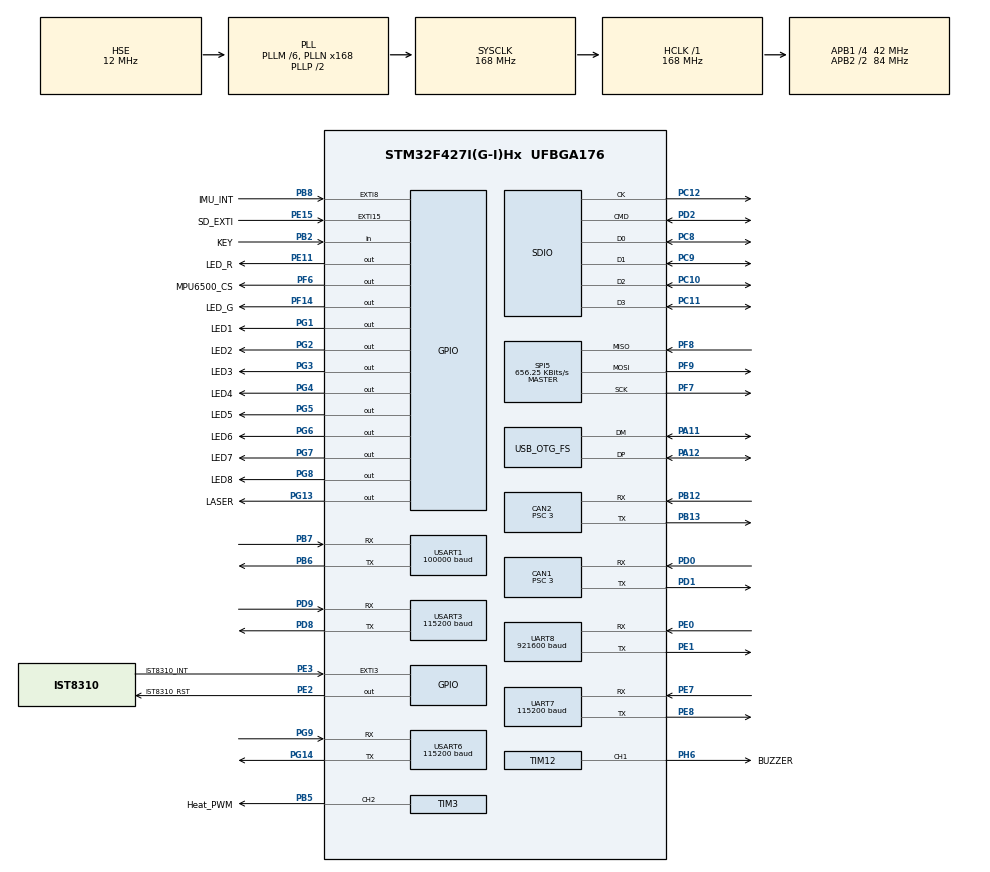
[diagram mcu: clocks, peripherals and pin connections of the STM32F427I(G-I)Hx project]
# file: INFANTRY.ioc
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CAN1.BS1=CAN_BS1_10TQ
CAN1.BS2=CAN_BS2_3TQ
CAN1.CalculateBaudRate=1000000
CAN1.CalculateTimeQuantum=71.42857142857143
CAN1.Prescaler=3
CAN2.BS1=CAN_BS1_10TQ
CAN2.BS2=CAN_BS2_3TQ
CAN2.CalculateBaudRate=1000000
CAN2.CalculateTimeQuantum=71.42857142857143
CAN2.Prescaler=3
Dma.Request0=USART1_RX
Dma.Request1=UART8_RX
Dma.Request2=UART8_TX
Dma.Request3=SDIO_RX
Dma.Request4=SDIO_TX
Dma.Request5=SPI5_RX
Dma.Request6=SPI5_TX
Dma.SDIO_RX.3.Direction=DMA_PERIPH_TO_MEMORY
Dma.SDIO_RX.3.FIFOMode=DMA_FIFOMODE_DISABLE
Dma.SDIO_RX.3.Instance=DMA2_Stream3
Dma.SDIO_RX.3.MemDataAlignment=DMA_MDATAALIGN_WORD
Dma.SDIO_RX.3.MemInc=DMA_MINC_ENABLE
Dma.SDIO_RX.3.Mode=DMA_PFCTRL
Dma.SDIO_RX.3.PeriphDataAlignment=DMA_PDATAALIGN_WORD
Dma.SDIO_RX.3.PeriphInc=DMA_PINC_DISABLE
Dma.SDIO_RX.3.Priority=DMA_PRIORITY_VERY_HIGH
Dma.SDIO_TX.4.Direction=DMA_MEMORY_TO_PERIPH
Dma.SDIO_TX.4.FIFOMode=DMA_FIFOMODE_DISABLE
Dma.SDIO_TX.4.Instance=DMA2_Stream6
Dma.SDIO_TX.4.MemDataAlignment=DMA_MDATAALIGN_WORD
Dma.SDIO_TX.4.MemInc=DMA_MINC_ENABLE
Dma.SDIO_TX.4.Mode=DMA_PFCTRL
Dma.SDIO_TX.4.PeriphDataAlignment=DMA_PDATAALIGN_WORD
Dma.SDIO_TX.4.PeriphInc=DMA_PINC_DISABLE
Dma.SDIO_TX.4.Priority=DMA_PRIORITY_VERY_HIGH
Dma.SPI5_RX.5.Direction=DMA_PERIPH_TO_MEMORY
Dma.SPI5_RX.5.FIFOMode=DMA_FIFOMODE_DISABLE
Dma.SPI5_RX.5.Instance=DMA2_Stream5
Dma.SPI5_RX.5.MemDataAlignment=DMA_MDATAALIGN_BYTE
Dma.SPI5_RX.5.MemInc=DMA_MINC_ENABLE
Dma.SPI5_RX.5.Mode=DMA_NORMAL
Dma.SPI5_RX.5.PeriphDataAlignment=DMA_PDATAALIGN_BYTE
Dma.SPI5_RX.5.PeriphInc=DMA_PINC_DISABLE
Dma.SPI5_RX.5.Priority=DMA_PRIORITY_HIGH
Dma.SPI5_TX.6.Direction=DMA_MEMORY_TO_PERIPH
Dma.SPI5_TX.6.FIFOMode=DMA_FIFOMODE_DISABLE
Dma.SPI5_TX.6.Instance=DMA2_Stream4
Dma.SPI5_TX.6.MemDataAlignment=DMA_MDATAALIGN_BYTE
Dma.SPI5_TX.6.MemInc=DMA_MINC_ENABLE
Dma.SPI5_TX.6.Mode=DMA_NORMAL
Dma.SPI5_TX.6.PeriphDataAlignment=DMA_PDATAALIGN_BYTE
Dma.SPI5_TX.6.PeriphInc=DMA_PINC_DISABLE
Dma.SPI5_TX.6.Priority=DMA_PRIORITY_HIGH
Dma.UART8_RX.1.Direction=DMA_PERIPH_TO_MEMORY
Dma.UART8_RX.1.FIFOMode=DMA_FIFOMODE_DISABLE
Dma.UART8_RX.1.Instance=DMA1_Stream6
Dma.UART8_RX.1.MemDataAlignment=DMA_MDATAALIGN_BYTE
Dma.UART8_RX.1.MemInc=DMA_MINC_ENABLE
Dma.UART8_RX.1.Mode=DMA_CIRCULAR
Dma.UART8_RX.1.PeriphDataAlignment=DMA_PDATAALIGN_BYTE
Dma.UART8_RX.1.PeriphInc=DMA_PINC_DISABLE
Dma.UART8_RX.1.Priority=DMA_PRIORITY_HIGH
Dma.UART8_TX.2.Direction=DMA_MEMORY_TO_PERIPH
Dma.UART8_TX.2.FIFOMode=DMA_FIFOMODE_DISABLE
Dma.UART8_TX.2.Instance=DMA1_Stream0
Dma.UART8_TX.2.MemDataAlignment=DMA_MDATAALIGN_BYTE
Dma.UART8_TX.2.MemInc=DMA_MINC_ENABLE
Dma.UART8_TX.2.Mode=DMA_NORMAL
Dma.UART8_TX.2.PeriphDataAlignment=DMA_PDATAALIGN_BYTE
Dma.UART8_TX.2.PeriphInc=DMA_PINC_DISABLE
Dma.UART8_TX.2.Priority=DMA_PRIORITY_HIGH
Dma.USART1_RX.0.Direction=DMA_PERIPH_TO_MEMORY
Dma.USART1_RX.0.FIFOMode=DMA_FIFOMODE_DISABLE
Dma.USART1_RX.0.Instance=DMA2_Stream2
Dma.USART1_RX.0.MemDataAlignment=DMA_MDATAALIGN_BYTE
Dma.USART1_RX.0.MemInc=DMA_MINC_ENABLE
Dma.USART1_RX.0.Mode=DMA_NORMAL
Dma.USART1_RX.0.PeriphDataAlignment=DMA_PDATAALIGN_BYTE
Dma.USART1_RX.0.PeriphInc=DMA_PINC_DISABLE
Dma.USART1_RX.0.Priority=DMA_PRIORITY_VERY_HIGH
FREERTOS.INCLUDE_eTaskGetState=1
FREERTOS.INCLUDE_pcTaskGetTaskName=1
FREERTOS.INCLUDE_uxTaskGetStackHighWaterMark=1
FREERTOS.INCLUDE_vTaskCleanUpResources=1
FREERTOS.INCLUDE_vTaskDelayUntil=1
FREERTOS.INCLUDE_xEventGroupSetBitFromISR=1
FREERTOS.INCLUDE_xQueueGetMutexHolder=1
FREERTOS.INCLUDE_xSemaphoreGetMutexHolder=1
FREERTOS.INCLUDE_xTaskAbortDelay=1
FREERTOS.INCLUDE_xTaskGetCurrentTaskHandle=1
FREERTOS.INCLUDE_xTaskGetHandle=1
FREERTOS.INCLUDE_xTimerPendFunctionCall=1
FREERTOS.Tasks01=defaultTask,0,256,StartDefaultTask,Default,NULL,Dynamic,NULL,NULL
FREERTOS.configTOTAL_HEAP_SIZE=40960
Mcu.Family=STM32F4
Mcu.Name=STM32F427I(G-I)Hx
Mcu.Package=UFBGA176
NVIC.CAN1_RX0_IRQn=true\:6\:0\:true\:false\:true\:true\:true\:true\:true
NVIC.CAN2_RX0_IRQn=true\:6\:0\:true\:false\:true\:true\:true\:true\:true
NVIC.DMA1_Stream0_IRQn=true\:5\:0\:true\:false\:false\:true\:false\:false\:true
NVIC.DMA1_Stream6_IRQn=true\:5\:0\:true\:false\:false\:true\:false\:true\:true
NVIC.DMA2_Stream2_IRQn=true\:5\:0\:false\:false\:true\:true\:false\:true\:true
NVIC.DMA2_Stream3_IRQn=true\:5\:0\:true\:false\:false\:true\:false\:true\:true
NVIC.DMA2_Stream4_IRQn=true\:5\:0\:false\:false\:true\:true\:false\:true\:true
NVIC.DMA2_Stream5_IRQn=true\:5\:0\:false\:false\:true\:true\:false\:true\:true
NVIC.DMA2_Stream6_IRQn=true\:5\:0\:true\:false\:true\:true\:false\:true\:true
NVIC.EXTI15_10_IRQn=true\:5\:0\:true\:false\:true\:true\:true\:true\:true
NVIC.EXTI3_IRQn=true\:5\:0\:true\:false\:true\:true\:true\:true\:true
NVIC.EXTI9_5_IRQn=true\:5\:0\:true\:false\:true\:true\:true\:true\:true
NVIC.OTG_FS_IRQn=true\:5\:0\:false\:false\:true\:true\:false\:true\:true
NVIC.PriorityGroup=NVIC_PRIORITYGROUP_4
NVIC.SDIO_IRQn=true\:5\:0\:false\:false\:true\:true\:true\:true\:true
NVIC.TIM6_DAC_IRQn=true\:15\:0\:false\:false\:true\:false\:false\:true\:true
NVIC.TimeBase=TIM6_DAC_IRQn
NVIC.TimeBaseIP=TIM6
NVIC.UART7_IRQn=true\:5\:0\:true\:false\:true\:false\:true\:true\:true
NVIC.UART8_IRQn=true\:5\:0\:true\:false\:true\:false\:true\:true\:true
NVIC.USART1_IRQn=true\:5\:0\:false\:false\:true\:true\:true\:true\:true
PA11.Mode=Device_Only
PA11.Signal=USB_OTG_FS_DM
PA12.Mode=Device_Only
PA12.Signal=USB_OTG_FS_DP
PA13.Mode=Serial_Wire
PA13.Signal=SYS_JTMS-SWDIO
PA14.Mode=Serial_Wire
PA14.Signal=SYS_JTCK-SWCLK
PB12.Mode=CAN_Activate
PB12.Signal=CAN2_RX
PB13.Mode=CAN_Activate
PB13.Signal=CAN2_TX
PB2/BOOT1.GPIO_Label=KEY
PB2/BOOT1.GPIO_PuPd=GPIO_PULLDOWN
PB2/BOOT1.Signal=GPIO_Input
PB5.GPIO_Label=Heat_PWM
PB5.GPIO_PuPd=GPIO_NOPULL
PB5.GPIO_Speed=GPIO_SPEED_FREQ_LOW
PB5.Signal=S_TIM3_CH2
PB6.Mode=Asynchronous
PB6.Signal=USART1_TX
PB7.Mode=Asynchronous
PB7.Signal=USART1_RX
PB8.GPIO_Label=IMU_INT
PB8.GPIO_ModeDefaultEXTI=GPIO_MODE_IT_RISING
PB8.GPIO_PuPd=GPIO_PULLUP
PB8.Signal=GPXTI8
PC10.GPIO_PuPd=GPIO_PULLUP
PC10.GPIO_Speed=GPIO_SPEED_FREQ_VERY_HIGH
PC10.Mode=SD_4_bits_Wide_bus
PC10.Signal=SDIO_D2
PC11.GPIO_PuPd=GPIO_PULLUP
PC11.GPIO_Speed=GPIO_SPEED_FREQ_VERY_HIGH
PC11.Mode=SD_4_bits_Wide_bus
PC11.Signal=SDIO_D3
PC12.GPIO_PuPd=GPIO_PULLUP
PC12.GPIO_Speed=GPIO_SPEED_FREQ_VERY_HIGH
PC12.Mode=SD_4_bits_Wide_bus
PC12.Signal=SDIO_CK
PC8.GPIO_PuPd=GPIO_PULLUP
PC8.GPIO_Speed=GPIO_SPEED_FREQ_VERY_HIGH
PC8.Mode=SD_4_bits_Wide_bus
PC8.Signal=SDIO_D0
PC9.GPIO_PuPd=GPIO_PULLUP
PC9.GPIO_Speed=GPIO_SPEED_FREQ_VERY_HIGH
PC9.Mode=SD_4_bits_Wide_bus
PC9.Signal=SDIO_D1
PD0.Mode=CAN_Activate
PD0.Signal=CAN1_RX
PD1.Mode=CAN_Activate
PD1.Signal=CAN1_TX
PD2.GPIO_PuPd=GPIO_PULLUP
PD2.GPIO_Speed=GPIO_SPEED_FREQ_VERY_HIGH
PD2.Mode=SD_4_bits_Wide_bus
PD2.Signal=SDIO_CMD
PD8.GPIO_PuPd=GPIO_PULLUP
PD8.Mode=Asynchronous
PD8.Signal=USART3_TX
PD9.GPIO_PuPd=GPIO_PULLUP
PD9.Mode=Asynchronous
PD9.Signal=USART3_RX
PE0.GPIO_PuPd=GPIO_PULLUP
PE0.Mode=Asynchronous
PE0.Signal=UART8_RX
PE1.GPIO_PuPd=GPIO_PULLUP
PE1.Mode=Asynchronous
PE1.Signal=UART8_TX
PE11.GPIO_Label=LED_R
PE11.GPIO_PuPd=GPIO_NOPULL
PE11.GPIO_Speed=GPIO_SPEED_FREQ_LOW
PE11.PinState=GPIO_PIN_SET
PE11.Signal=GPIO_Output
PE15.GPIO_Label=SD_EXTI
PE15.GPIO_ModeDefaultEXTI=GPIO_MODE_IT_RISING_FALLING
PE15.GPIO_PuPd=GPIO_PULLUP
PE15.Signal=GPXTI15
PE2.GPIO_Label=IST8310_RST
PE2.GPIO_PuPd=GPIO_NOPULL
PE2.GPIO_Speed=GPIO_SPEED_FREQ_LOW
PE2.PinState=GPIO_PIN_SET
PE2.Signal=GPIO_Output
PE3.GPIO_Label=IST8310_INT
PE3.GPIO_ModeDefaultEXTI=GPIO_MODE_IT_FALLING
PE3.GPIO_PuPd=GPIO_PULLUP
PE3.Signal=GPXTI3
PE7.GPIO_PuPd=GPIO_PULLUP
PE7.Mode=Asynchronous
PE7.Signal=UART7_RX
PE8.GPIO_PuPd=GPIO_PULLUP
PE8.Mode=Asynchronous
PE8.Signal=UART7_TX
PF14.GPIO_Label=LED_G
PF14.GPIO_PuPd=GPIO_NOPULL
PF14.GPIO_Speed=GPIO_SPEED_FREQ_LOW
PF14.PinState=GPIO_PIN_SET
PF14.Signal=GPIO_Output
PF6.GPIO_Label=MPU6500_CS
PF6.GPIO_PuPd=GPIO_PULLUP
PF6.GPIO_Speed=GPIO_SPEED_FREQ_MEDIUM
PF6.PinState=GPIO_PIN_SET
PF6.Signal=GPIO_Output
PF7.GPIO_PuPd=GPIO_NOPULL
PF7.Mode=Full_Duplex_Master
PF7.Signal=SPI5_SCK
PF8.GPIO_PuPd=GPIO_NOPULL
PF8.Mode=Full_Duplex_Master
PF8.Signal=SPI5_MISO
PF9.GPIO_PuPd=GPIO_NOPULL
PF9.Mode=Full_Duplex_Master
PF9.Signal=SPI5_MOSI
PG1.GPIO_Label=LED1
PG1.GPIO_PuPd=GPIO_NOPULL
PG1.GPIO_Speed=GPIO_SPEED_FREQ_LOW
PG1.PinState=GPIO_PIN_SET
PG1.Signal=GPIO_Output
PG13.GPIO_Label=LASER
PG13.GPIO_PuPd=GPIO_NOPULL
PG13.GPIO_Speed=GPIO_SPEED_FREQ_LOW
PG13.PinState=GPIO_PIN_RESET
PG13.Signal=GPIO_Output
PG14.GPIO_PuPd=GPIO_PULLUP
PG14.Mode=Asynchronous
PG14.Signal=USART6_TX
PG2.GPIO_Label=LED2
PG2.GPIO_PuPd=GPIO_NOPULL
PG2.GPIO_Speed=GPIO_SPEED_FREQ_LOW
PG2.PinState=GPIO_PIN_SET
PG2.Signal=GPIO_Output
PG3.GPIO_Label=LED3
PG3.GPIO_PuPd=GPIO_NOPULL
PG3.GPIO_Speed=GPIO_SPEED_FREQ_LOW
PG3.PinState=GPIO_PIN_SET
PG3.Signal=GPIO_Output
PG4.GPIO_Label=LED4
PG4.GPIO_PuPd=GPIO_NOPULL
PG4.GPIO_Speed=GPIO_SPEED_FREQ_LOW
PG4.PinState=GPIO_PIN_SET
PG4.Signal=GPIO_Output
PG5.GPIO_Label=LED5
PG5.GPIO_PuPd=GPIO_NOPULL
PG5.GPIO_Speed=GPIO_SPEED_FREQ_LOW
PG5.PinState=GPIO_PIN_SET
PG5.Signal=GPIO_Output
PG6.GPIO_Label=LED6
PG6.GPIO_PuPd=GPIO_NOPULL
PG6.GPIO_Speed=GPIO_SPEED_FREQ_LOW
PG6.PinState=GPIO_PIN_SET
PG6.Signal=GPIO_Output
PG7.GPIO_Label=LED7
PG7.GPIO_PuPd=GPIO_NOPULL
PG7.GPIO_Speed=GPIO_SPEED_FREQ_LOW
PG7.PinState=GPIO_PIN_SET
PG7.Signal=GPIO_Output
PG8.GPIO_Label=LED8
PG8.GPIO_PuPd=GPIO_NOPULL
PG8.GPIO_Speed=GPIO_SPEED_FREQ_LOW
PG8.PinState=GPIO_PIN_SET
PG8.Signal=GPIO_Output
PG9.GPIO_PuPd=GPIO_PULLUP
PG9.Mode=Asynchronous
PG9.Signal=USART6_RX
PH0/OSC_IN.Mode=HSE-External-Oscillator
PH0/OSC_IN.Signal=RCC_OSC_IN
PH1/OSC_OUT.Mode=HSE-External-Oscillator
PH1/OSC_OUT.Signal=RCC_OSC_OUT
PH6.GPIO_Label=BUZZER
PH6.GPIO_PuPd=GPIO_NOPULL
PH6.GPIO_Speed=GPIO_SPEED_FREQ_VERY_HIGH
PH6.Signal=S_TIM12_CH1
ProjectManager.HeapSize=0x200
ProjectManager.StackSize=0x400
ProjectManager.TargetToolchain=MDK-ARM V5
RCC.48MHZClocksFreq_Value=48000000
RCC.AHBFreq_Value=168000000
RCC.APB1CLKDivider=RCC_HCLK_DIV4
RCC.APB1Freq_Value=42000000
RCC.APB1TimFreq_Value=84000000
RCC.APB2CLKDivider=RCC_HCLK_DIV2
RCC.APB2Freq_Value=84000000
RCC.APB2TimFreq_Value=168000000
RCC.CortexFreq_Value=168000000
RCC.HCLKFreq_Value=168000000
RCC.HSE_VALUE=12000000
RCC.HSI_VALUE=16000000
RCC.LSE_VALUE=32768
RCC.PLLM=6
RCC.PLLN=168
RCC.PLLQ=7
RCC.SYSCLKFreq_VALUE=168000000
RCC.SYSCLKSource=RCC_SYSCLKSOURCE_PLLCLK
RCC.VCOOutputFreq_Value=336000000
SDIO.ClockDiv=0
SH.S_TIM12_CH1.0=TIM12_CH1,PWM Generation1 CH1
SH.S_TIM3_CH2.0=TIM3_CH2,PWM Generation2 CH2
SPI5.BaudRatePrescaler=SPI_BAUDRATEPRESCALER_128
SPI5.CLKPhase=SPI_PHASE_1EDGE
SPI5.CLKPolarity=SPI_POLARITY_LOW
SPI5.CalculateBaudRate=656.25 KBits/s
SPI5.Direction=SPI_DIRECTION_2LINES
SPI5.Mode=SPI_MODE_MASTER
SPI5.VirtualType=VM_MASTER
TIM12.Channel-PWM\ Generation1\ CH1=TIM_CHANNEL_1
TIM12.Period=369
TIM12.Prescaler=83
TIM12.Pulse-PWM\ Generation1\ CH1=0
TIM3.Channel-PWM\ Generation2\ CH2=TIM_CHANNEL_2
TIM3.Period=49
TIM3.Prescaler=83
TIM3.Pulse-PWM\ Generation2\ CH2=0
UART7.BaudRate=115200
UART7.VirtualMode=Asynchronous
UART8.BaudRate=921600
UART8.VirtualMode=Asynchronous
USART1.BaudRate=100000
USART1.Parity=PARITY_EVEN
USART1.VirtualMode=VM_ASYNC
USART3.BaudRate=115200
USART3.VirtualMode=VM_ASYNC
USART6.BaudRate=115200
USART6.VirtualMode=VM_ASYNC
USB_DEVICE.CLASS_NAME_FS=CDC
USB_DEVICE.VirtualMode-CDC_FS=Cdc
USB_DEVICE.VirtualModeFS=Cdc_FS
USB_OTG_FS.VirtualMode=Device_Only
VP_FREERTOS_VS_CMSIS_V1.Mode=CMSIS_V1
VP_SYS_VS_tim6.Mode=TIM6
VP_USB_DEVICE_VS_USB_DEVICE_CDC_FS.Mode=CDC_FS
board=custom

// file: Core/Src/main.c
/* USER CODE BEGIN Header */
/**
  ******************************************************************************
  * @file           : main.c
  * @brief          : Main program body
  ******************************************************************************
  * @attention
  *
  * Copyright (c) 2026 STMicroelectronics.
  * All rights reserved.
  *
  * This software is licensed under terms that can be found in the LICENSE file
  * in the root directory of this software component.
  * If no LICENSE file comes with this software, it is provided AS-IS.
  *
  ******************************************************************************
  */
/* USER CODE END Header */
#include "main.h"
#include "cmsis_os.h"
#include "can.h"
#include "dma.h"
#include "sdio.h"
#include "spi.h"
#include "tim.h"
#include "usart.h"
#include "usb_device.h"
#include "gpio.h"

/* USER CODE BEGIN Includes */
#include "config.h"
#include "watch.h"
#include "bsp_buzzer.h"
#include "bsp_can.h"
#include "manual_input.h"

/* USER CODE END Includes */

void SystemClock_Config(void);
void MX_FREERTOS_Init(void);

int main(void)
{

  /* MCU Configuration--------------------------------------------------------*/

  /* Reset of all peripherals, Initializes the Flash interface and the Systick. */
  HAL_Init();

  /* USER CODE BEGIN Init */
  watch_diag_set_boot_stage(WATCH_BOOT_STAGE_HAL_INIT_DONE);

  /* USER CODE END Init */

  /* Configure the system clock */
  watch_diag_set_boot_stage(WATCH_BOOT_STAGE_SYS_CLOCK_OSC);
  SystemClock_Config();

  /* Initialize all configured peripherals */
  watch_diag_set_boot_stage(WATCH_BOOT_STAGE_GPIO_INIT);
  MX_GPIO_Init();
  watch_diag_set_boot_stage(WATCH_BOOT_STAGE_DMA_INIT);
  MX_DMA_Init();
  watch_diag_set_boot_stage(WATCH_BOOT_STAGE_CAN1_INIT);
  MX_CAN1_Init();
  watch_diag_set_boot_stage(WATCH_BOOT_STAGE_CAN2_INIT);
  MX_CAN2_Init();
  watch_diag_set_boot_stage(WATCH_BOOT_STAGE_USART1_INIT);
  MX_USART1_UART_Init();
  watch_diag_set_boot_stage(WATCH_BOOT_STAGE_USART3_INIT);
  MX_USART3_UART_Init();
  watch_diag_set_boot_stage(WATCH_BOOT_STAGE_USART6_INIT);
  MX_USART6_UART_Init();
  watch_diag_set_boot_stage(WATCH_BOOT_STAGE_UART7_INIT);
  MX_UART7_Init();
  watch_diag_set_boot_stage(WATCH_BOOT_STAGE_UART8_INIT);
  MX_UART8_Init();
  watch_diag_set_boot_stage(WATCH_BOOT_STAGE_SPI5_INIT);
  MX_SPI5_Init();
#if BOARD_SD_ENABLE
  watch_diag_set_boot_stage(WATCH_BOOT_STAGE_SDIO_INIT);
  MX_SDIO_SD_Init();
#endif
  watch_diag_set_boot_stage(WATCH_BOOT_STAGE_TIM3_INIT);
  MX_TIM3_Init();
  watch_diag_set_boot_stage(WATCH_BOOT_STAGE_TIM12_INIT);
  MX_TIM12_Init();
  /* USER CODE BEGIN 2 */
  watch_diag_set_boot_stage(WATCH_BOOT_STAGE_CAN_FILTER_INIT);
  can_filter_init();
  watch_diag_set_boot_stage(WATCH_BOOT_STAGE_BUZZER_INIT);
  buzzer_set_enable(g_config.buzzer.enable);
  watch_diag_set_boot_stage(WATCH_BOOT_STAGE_REMOTE_CONTROL_INIT);
  remote_control_init();

  /* USER CODE END 2 */

  /* Call init function for freertos objects (in cmsis_os2.c) */
  watch_diag_set_boot_stage(WATCH_BOOT_STAGE_FREERTOS_INIT);
  MX_FREERTOS_Init();

  /* Start scheduler */
  watch_diag_set_boot_stage(WATCH_BOOT_STAGE_SCHEDULER_START);
  osKernelStart();

  /* We should never get here as control is now taken by the scheduler */

  /* Infinite loop */
  while (1)
  {

  }
}

void SystemClock_Config(void)
{
  RCC_OscInitTypeDef RCC_OscInitStruct = {0};
  RCC_ClkInitTypeDef RCC_ClkInitStruct = {0};

  /** Configure the main internal regulator output voltage
  */
  __HAL_RCC_PWR_CLK_ENABLE();
  __HAL_PWR_VOLTAGESCALING_CONFIG(PWR_REGULATOR_VOLTAGE_SCALE1);

  /** Initializes the RCC Oscillators according to the specified parameters
  * in the RCC_OscInitTypeDef structure.
  */
  RCC_OscInitStruct.OscillatorType = RCC_OSCILLATORTYPE_HSE;
  RCC_OscInitStruct.HSEState = RCC_HSE_ON;
  RCC_OscInitStruct.PLL.PLLState = RCC_PLL_ON;
  RCC_OscInitStruct.PLL.PLLSource = RCC_PLLSOURCE_HSE;
  RCC_OscInitStruct.PLL.PLLM = 6;
  RCC_OscInitStruct.PLL.PLLN = 168;
  RCC_OscInitStruct.PLL.PLLP = RCC_PLLP_DIV2;
  RCC_OscInitStruct.PLL.PLLQ = 7;
  watch_diag_set_boot_stage(WATCH_BOOT_STAGE_SYS_CLOCK_OSC);
  if (HAL_RCC_OscConfig(&RCC_OscInitStruct) != HAL_OK)
  {
    Error_Handler();
  }

  /** Initializes the CPU, AHB and APB buses clocks
  */
  RCC_ClkInitStruct.ClockType = RCC_CLOCKTYPE_HCLK|RCC_CLOCKTYPE_SYSCLK
                              |RCC_CLOCKTYPE_PCLK1|RCC_CLOCKTYPE_PCLK2;
  RCC_ClkInitStruct.SYSCLKSource = RCC_SYSCLKSOURCE_PLLCLK;
  RCC_ClkInitStruct.AHBCLKDivider = RCC_SYSCLK_DIV1;
  RCC_ClkInitStruct.APB1CLKDivider = RCC_HCLK_DIV4;
  RCC_ClkInitStruct.APB2CLKDivider = RCC_HCLK_DIV2;

  watch_diag_set_boot_stage(WATCH_BOOT_STAGE_SYS_CLOCK_BUS);
  if (HAL_RCC_ClockConfig(&RCC_ClkInitStruct, FLASH_LATENCY_5) != HAL_OK)
  {
    Error_Handler();
  }
}

void HAL_TIM_PeriodElapsedCallback(TIM_HandleTypeDef *htim)
{
  if (htim->Instance == TIM6)
  {
    HAL_IncTick();
  }
}

void Error_Handler(void)
{
  /* USER CODE BEGIN Error_Handler_Debug */
  /* User can add his own implementation to report the HAL error return state */
  watch_diag_mark_error_handler(HAL_GetTick(), __get_IPSR());
  __disable_irq();
  while (1)
  {
  }
  /* USER CODE END Error_Handler_Debug */
}

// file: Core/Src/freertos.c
/* USER CODE BEGIN Header */
/**
  ******************************************************************************
  * File Name          : freertos.c
  * Description        : Code for freertos applications
  ******************************************************************************
  * @attention
  *
  * Copyright (c) 2026 STMicroelectronics.
  * All rights reserved.
  *
  * This software is licensed under terms that can be found in the LICENSE file
  * in the root directory of this software component.
  * If no LICENSE file comes with this software, it is provided AS-IS.
  *
  ******************************************************************************
  */
/* USER CODE END Header */

#include "FreeRTOS.h"
#include "task.h"
#include "main.h"
#include "cmsis_os.h"
#include <string.h>

/* USER CODE BEGIN Includes */
#include "rc_sbus_task.h"
#include "detect_task.h"
#include "sdlog_task.h"
#include "can_feedback_rx_task.h"
#include "can_command_tx_task.h"
#include "chassis_control_task.h"
#include "gimbal_control_task.h"
#include "INS_task.h"
#include "host_link_task.h"
#include "elrs_task.h"
#include "watch.h"

/* USER CODE END Includes */

/* USER CODE BEGIN PTD */
osThreadId rcSbusTaskHandle;
osThreadId detectTaskHandle;
osThreadId sdlogTaskHandle;
osThreadId canRxTaskHandle;
osThreadId canTxTaskHandle;
osThreadId chassisTaskHandle;
osThreadId gimbalTaskHandle;
osThreadId imuTaskHandle;
osThreadId usbTaskHandle;
osThreadId uart1ElrsTaskHandle;

/* USER CODE END PTD */

osThreadId defaultTaskHandle;

/* USER CODE BEGIN FunctionPrototypes */
static const char *watch_rtos_task_name_from_handle(TaskHandle_t xTask, const char *fallback_name);
static void watch_rtos_copy_task_name(char *dst, uint32_t dst_size, const char *src);

/* USER CODE END FunctionPrototypes */

void StartDefaultTask(void const * argument);

extern void MX_USB_DEVICE_Init(void);
void MX_FREERTOS_Init(void); /* (MISRA C 2004 rule 8.1) */

/* GetIdleTaskMemory prototype (linked to static allocation support) */
void vApplicationGetIdleTaskMemory( StaticTask_t **ppxIdleTaskTCBBuffer, StackType_t **ppxIdleTaskStackBuffer, uint32_t *pulIdleTaskStackSize );

/* GetTimerTaskMemory prototype (linked to static allocation support) */
void vApplicationGetTimerTaskMemory( StaticTask_t **ppxTimerTaskTCBBuffer, StackType_t **ppxTimerTaskStackBuffer, uint32_t *pulTimerTaskStackSize );

/* USER CODE BEGIN GET_IDLE_TASK_MEMORY */
static StaticTask_t xIdleTaskTCBBuffer;
static StackType_t xIdleStack[configMINIMAL_STACK_SIZE];

void vApplicationGetIdleTaskMemory( StaticTask_t **ppxIdleTaskTCBBuffer, StackType_t **ppxIdleTaskStackBuffer, uint32_t *pulIdleTaskStackSize )
{
  *ppxIdleTaskTCBBuffer = &xIdleTaskTCBBuffer;
  *ppxIdleTaskStackBuffer = &xIdleStack[0];
  *pulIdleTaskStackSize = configMINIMAL_STACK_SIZE;
  /* place for user code */
}
/* USER CODE END GET_IDLE_TASK_MEMORY */

/* USER CODE BEGIN GET_TIMER_TASK_MEMORY */
static StaticTask_t xTimerTaskTCBBuffer;
static StackType_t xTimerStack[configTIMER_TASK_STACK_DEPTH];

void vApplicationGetTimerTaskMemory( StaticTask_t **ppxTimerTaskTCBBuffer, StackType_t **ppxTimerTaskStackBuffer, uint32_t *pulTimerTaskStackSize )
{
  *ppxTimerTaskTCBBuffer = &xTimerTaskTCBBuffer;
  *ppxTimerTaskStackBuffer = &xTimerStack[0];
  *pulTimerTaskStackSize = configTIMER_TASK_STACK_DEPTH;
  /* place for user code */
}
/* USER CODE END GET_TIMER_TASK_MEMORY */

void MX_FREERTOS_Init(void) {

  /* Create the thread(s) */
  /* definition and creation of defaultTask */
  osThreadDef(defaultTask, StartDefaultTask, osPriorityNormal, 0, 256);
  defaultTaskHandle = osThreadCreate(osThread(defaultTask), NULL);

  /* USER CODE BEGIN RTOS_THREADS */
  osThreadDef(rcSbusTask, rc_sbus_task, osPriorityAboveNormal, 0, 256);
  rcSbusTaskHandle = osThreadCreate(osThread(rcSbusTask), NULL);

  osThreadDef(detectTask, detect_task, osPriorityNormal, 0, 256);
  detectTaskHandle = osThreadCreate(osThread(detectTask), NULL);

#if BOARD_SD_ENABLE
  osThreadDef(sdlogTask, sdlog_task, osPriorityLow, 0, 512);
  sdlogTaskHandle = osThreadCreate(osThread(sdlogTask), NULL);
#endif

  osThreadDef(canTxTask, can_command_tx_task, osPriorityAboveNormal, 0, 256);
  canTxTaskHandle = osThreadCreate(osThread(canTxTask), NULL);

  osThreadDef(canRxTask, can_feedback_rx_task, osPriorityHigh, 0, 256);
  canRxTaskHandle = osThreadCreate(osThread(canRxTask), NULL);

  osThreadDef(chassisTask, chassis_control_task, osPriorityAboveNormal, 0, 512);
  chassisTaskHandle = osThreadCreate(osThread(chassisTask), NULL);

  osThreadDef(gimbalTask, gimbal_control_task, osPriorityHigh, 0, 1024);
  gimbalTaskHandle = osThreadCreate(osThread(gimbalTask), NULL);

  osThreadDef(usbTask, host_link_task, osPriorityNormal, 0, 128);
  usbTaskHandle = osThreadCreate(osThread(usbTask), NULL);

  osThreadDef(uart1ElrsTask, uart1_elrs_task, osPriorityAboveNormal, 0, 256);
  uart1ElrsTaskHandle = osThreadCreate(osThread(uart1ElrsTask), NULL);

  osThreadDef(imuTask, INS_task, osPriorityRealtime, 0, 1024);
  imuTaskHandle = osThreadCreate(osThread(imuTask), NULL);
  /* USER CODE END RTOS_THREADS */

}

void StartDefaultTask(void const * argument)
{
  (void)argument;
  /* init code for USB_DEVICE */
  watch_diag_set_boot_stage(WATCH_BOOT_STAGE_DEFAULT_TASK_START);
  MX_USB_DEVICE_Init();
  /* USER CODE BEGIN StartDefaultTask */
  watch_diag_set_boot_stage(WATCH_BOOT_STAGE_RUN);
  /* Infinite loop */
  for(;;)
  {
    watch_task_beat(WATCH_TASK_DEFAULT);
    osDelay(1);
  }
  /* USER CODE END StartDefaultTask */
}

/* USER CODE BEGIN Application */

static const char *watch_rtos_task_name_from_handle(TaskHandle_t xTask, const char *fallback_name)
{
  if (xTask == (TaskHandle_t)defaultTaskHandle)
  {
    return "defaultTask";
  }
  if (xTask == (TaskHandle_t)rcSbusTaskHandle)
  {
    return "rcSbusTask";
  }
  if (xTask == (TaskHandle_t)detectTaskHandle)
  {
    return "detectTask";
  }
#if BOARD_SD_ENABLE
  if (xTask == (TaskHandle_t)sdlogTaskHandle)
  {
    return "sdlogTask";
  }
#endif
  if (xTask == (TaskHandle_t)canTxTaskHandle)
  {
    return "canTxTask";
  }
  if (xTask == (TaskHandle_t)canRxTaskHandle)
  {
    return "canRxTask";
  }
  if (xTask == (TaskHandle_t)chassisTaskHandle)
  {
    return "chassisTask";
  }
  if (xTask == (TaskHandle_t)gimbalTaskHandle)
  {
    return "gimbalTask";
  }
  if (xTask == (TaskHandle_t)usbTaskHandle)
  {
    return "usbTask";
  }
  if (xTask == (TaskHandle_t)uart1ElrsTaskHandle)
  {
    return "uart1ElrsTask";
  }
  if (xTask == (TaskHandle_t)imuTaskHandle)
  {
    return "imuTask";
  }

  if (fallback_name != NULL && fallback_name[0] != '\0')
  {
    return fallback_name;
  }

  return "?";
}

static void watch_rtos_copy_task_name(char *dst, uint32_t dst_size, const char *src)
{
  if (dst == NULL || dst_size == 0u)
  {
    return;
  }

  (void)memset(dst, 0, dst_size);
  if (src != NULL)
  {
    (void)strncpy(dst, src, (size_t)dst_size - 1u);
  }
}

void vApplicationStackOverflowHook(TaskHandle_t xTask, char *pcTaskName)
{
  g_watch.rtos.fatal_reason = 1U;
  g_watch.rtos.fatal_task_handle = (uint32_t)xTask;
  watch_rtos_copy_task_name(g_watch.rtos.fatal_task_name,
                                (uint32_t)sizeof(g_watch.rtos.fatal_task_name),
                                watch_rtos_task_name_from_handle(xTask, pcTaskName));

  if ((CoreDebug->DHCSR & CoreDebug_DHCSR_C_DEBUGEN_Msk) != 0U)
  {
    __BKPT(0);
  }

  taskDISABLE_INTERRUPTS();
  for (;;)
  {
    __NOP();
  }
}

void vApplicationMallocFailedHook(void)
{
  const TaskHandle_t current_task = xTaskGetCurrentTaskHandle();

  g_watch.rtos.fatal_reason = 2U;
  g_watch.rtos.fatal_task_handle = (uint32_t)current_task;
  watch_rtos_copy_task_name(g_watch.rtos.fatal_task_name,
                                (uint32_t)sizeof(g_watch.rtos.fatal_task_name),
                                watch_rtos_task_name_from_handle(current_task,
                                                                     pcTaskGetTaskName(NULL)));

  if ((CoreDebug->DHCSR & CoreDebug_DHCSR_C_DEBUGEN_Msk) != 0U)
  {
    __BKPT(0);
  }

  taskDISABLE_INTERRUPTS();
  for (;;)
  {
    __NOP();
  }
}

/* USER CODE END Application */
